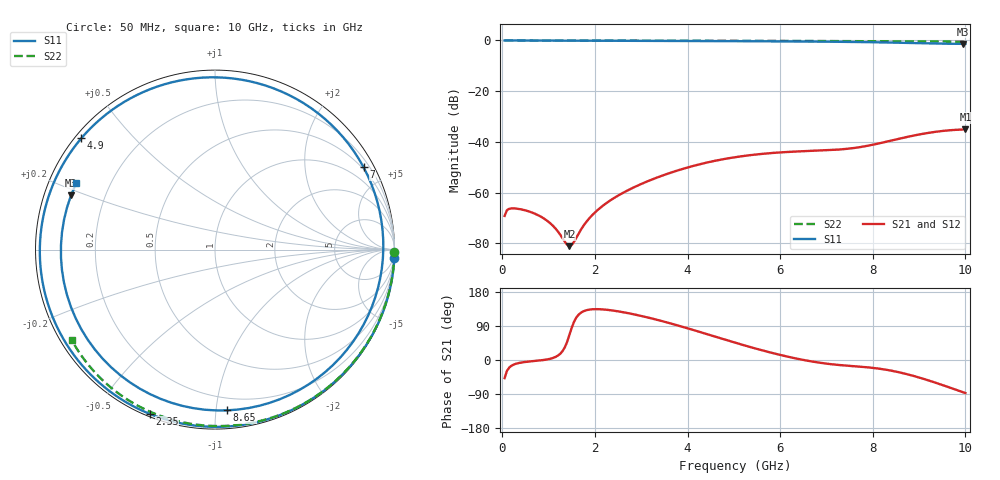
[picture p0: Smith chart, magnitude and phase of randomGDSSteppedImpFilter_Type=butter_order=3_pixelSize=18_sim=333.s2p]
! freq	dB(S11)	phase(S11)	dB(S12)	phase(S12)
!  dB(S21)	phase(S21)	dB(S22)	phase(S22)
!S-par simulation data
#  GHz  S  DB  R 50
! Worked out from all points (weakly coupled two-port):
!   200 points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, 50 MHz to 10 GHz, reference 50 ohm
!   highest |S21| = -35.09 dB at 10 GHz (marker M1); lowest = -81.1 dB at 1.45 GHz (marker M2)
!   lowest |S11| = -1.3 dB at 9.95 GHz (marker M3), VSWR 13.00, Z = 3.97 + j9.08 ohm
!   |S11| at or under -10 dB: nowhere
!   |S22| runs from -0.5 to 0.0 dB; largest |S21 - S12| = 0
!   S11 on the Smith chart (normalised r, x): 50 MHz: 0, -45; 2.35 GHz: 0.01, -0.68; 4.9 GHz: 0.02, +0.36; 7 GHz: 0.44, +3.83; 8.65 GHz: 0.12, -1.07; 10 GHz: 0.08, +0.22
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0.05  -0.00 -2.5  -69.20 -47.8  -69.20 -47.8  -0.00 -0.9
0.2  -0.00 -10.2  -66.23 -15.0  -66.23 -15.0  -0.00 -3.4
0.7  -0.04 -35.3  -68.28 -2.6  -68.28 -2.6  -0.01 -12.0
1.45  -0.09 -71.3  -81.12 66.3  -81.12 66.3  -0.03 -24.6
1.55  -0.09 -76.0  -79.35 101.1  -79.35 101.1  -0.03 -26.3
1.75  -0.10 -85.1  -73.17 128.4  -73.17 128.4  -0.04 -29.6
2.35  -0.13 -111.7  -62.86 131.2  -62.86 131.2  -0.05 -39.4
3.4  -0.18 -155.8  -53.66 104.2  -53.66 104.2  -0.07 -56.2
4.15  -0.22 172.9  -49.35 78.3  -49.35 78.3  -0.10 -67.7
4.9  -0.27 140.2  -46.41 50.4  -46.41 50.4  -0.12 -78.8
5.05  -0.28 133.3  -45.97 45.0  -45.97 45.0  -0.12 -81.0
5.9  -0.35 91.7  -44.28 16.4  -44.28 16.4  -0.16 -93.2
6.7  -0.44 47.1  -43.53 -4.2  -43.53 -4.2  -0.20 -104.2
7  -0.48 29.0  -43.31 -9.6  -43.31 -9.6  -0.22 -108.3
7.65  -0.60 -13.1  -42.27 -16.9  -42.27 -16.9  -0.27 -117.0
8.35  -0.81 -62.8  -39.69 -27.0  -39.69 -27.0  -0.32 -126.2
8.65  -0.93 -85.8  -38.42 -34.7  -38.42 -34.7  -0.35 -130.1
9  -1.08 -114.3  -37.09 -46.2  -37.09 -46.2  -0.39 -134.7
9.4  -1.24 -149.2  -35.92 -61.7  -35.92 -61.7  -0.43 -139.9
9.7  -1.32 -176.9  -35.36 -74.4  -35.36 -74.4  -0.46 -143.8
9.95  -1.34 159.3  -35.12 -85.1  -35.12 -85.1  -0.49 -147.1
10  -1.34 154.5  -35.09 -87.2  -35.09 -87.2  -0.50 -147.8
